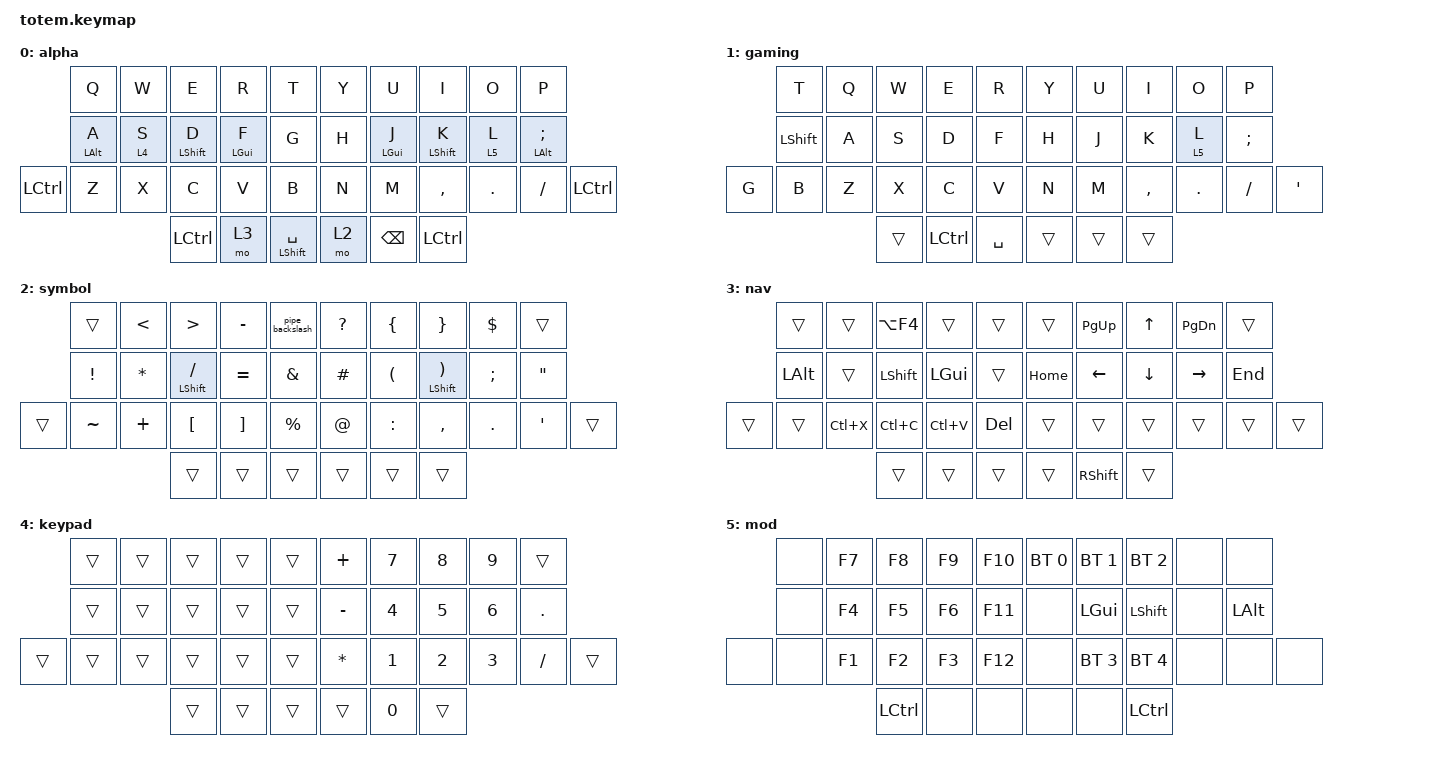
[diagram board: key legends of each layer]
//
//                                                        ▀▀▀▀▀     ▀▀▀▀▀          ▀▀█▀▀
//                                                        ▄▀▀▀▄  ▄  ▄▀▀▀▄  ▄  ▄▀▀▀▄  █  ▄▀▀▀▄
//                                                        █   █  █  █   █  █  █   █  █  █   █
//                                                         ▀▀▀   █   ▀▀▀   █   ▀▀▀   ▀   ▀▀▀
//                                                               █      ▄▄▄█▄▄▄    █   █  
//                                                               ▀      █  █  █     █▄█
//                                                             ▀▀▀▀▀    █  █  █      ▀
//                                                                      ▀  ▀  ▀
//
// ▄▄▄▄▄▄▄▄▄▄▄▄▄▄▄▄▄▄▄▄▄▄▄▄▄▄▄▄▄▄▄▄▄▄▄▄▄▄▄▄▄▄▄▄▄▄▄▄▄▄▄▄▄▄▄▄▄▄▄▄▄▄▄▄▄▄▄▄▄▄▄▄▄▄▄▄▄▄▄▄▄▄▄▄▄▄▄▄▄▄▄▄▄▄▄▄▄▄▄▄▄▄▄▄▄▄▄▄▄▄▄▄▄▄▄▄▄▄▄▄▄▄▄▄▄▄▄▄▄▄▄▄▄▄▄▄▄▄▄▄▄▄▄▄▄▄▄▄▄

#include <behaviors.dtsi>
#include <dt-bindings/zmk/bt.h>
#include <dt-bindings/zmk/keys.h>

/ {
    behaviors {
        hmo: hold_momentary {
            compatible = "zmk,behavior-hold-tap";
            label = "HOMEROW_MOD_LAYER_SHIFT";
            bindings = <&mo>, <&kp>;

            #binding-cells = <2>;
            tapping-term-ms = <200>;
            quick-tap-ms = <175>;
            flavor = "balanced";
        };

        hm: homerow_mods {
            compatible = "zmk,behavior-hold-tap";
            label = "HOMEROW_MODS";
            bindings = <&kp>, <&kp>;

            #binding-cells = <2>;
            tapping-term-ms = <200>;
            quick-tap-ms = <175>;
            flavor = "balanced";
        };

        pipe_backslash: pipe_backslash {
            compatible = "zmk,behavior-mod-morph";
            label = "PIPE_BACKSLASH";
            bindings = <&kp PIPE>, <&kp BACKSLASH>;

            #binding-cells = <0>;
            mods = <(MOD_LSFT|MOD_LGUI|MOD_RSFT|MOD_RGUI)>;
        };
    };

    combos {
        compatible = "zmk,combos";

        escape {
            bindings = <&kp ESCAPE>;
            key-positions = <1 2>;
            timeout-ms = <15>;
            layers = <0 1>;
        };

        tab {
            bindings = <&kp TAB>;
            key-positions = <7 8>;
            timeout-ms = <15>;
        };

        underscore {
            bindings = <&kp UNDERSCORE>;
            key-positions = <17 18>;
            timeout-ms = <15>;
            layers = <2>;
        };

        caret {
            bindings = <&kp CARET>;
            key-positions = <11 12>;
            timeout-ms = <15>;
            layers = <2>;
        };

        grave {
            bindings = <&kp GRAVE>;
            key-positions = <22 23>;
            timeout-ms = <15>;
            layers = <2>;
        };

        alpha {
            bindings = <&to 0>;
            key-positions = <10 14>;
            timeout-ms = <15>;
            layers = <5>;
        };

        gaming {
            bindings = <&to 1>;
            key-positions = <21 25>;
            timeout-ms = <15>;
            layers = <5>;
        };

        clear {
            bindings = <&bt BT_CLR>;
            key-positions = <1 4>;
            timeout-ms = <15>;
            layers = <5>;
        };

        enter {
            bindings = <&kp ENTER>;
            key-positions = <17 18>;
            timeout-ms = <15>;
        };

        dictate {
            bindings = <&kp F7>;
            key-positions = <22 23>;
            timeout-ms = <15>;
            layers = <0 1>;
        };
    };

    keymap {
        compatible = "zmk,keymap";

        alpha {
            bindings = <
           &kp Q           &kp W     &kp E             &kp R       &kp T                   &kp Y  &kp U          &kp I             &kp O       &kp P
           &hm LEFT_ALT A  &hmo 4 S  &hm LEFT_SHIFT D  &hm LGUI F  &kp G                   &kp H  &hm LGUI J     &hm LEFT_SHIFT K  &hmo 5 L    &hm LEFT_ALT SEMICOLON
&kp LCTRL  &kp Z           &kp X     &kp C             &kp V       &kp B                   &kp N  &kp M          &kp COMMA         &kp PERIOD  &kp SLASH               &kp LCTRL
                                     &kp LCTRL         &mo 3       &hm LEFT_SHIFT SPACE    &mo 2  &kp BACKSPACE  &kp LCTRL
            >;
        };

        gaming {
            bindings = <
       &kp T       &kp Q  &kp W   &kp E      &kp R        &kp Y   &kp U   &kp I      &kp O     &kp P
       &kp LSHIFT  &kp A  &kp S   &kp D      &kp F        &kp H   &kp J   &kp K      &hmo 5 L  &kp SEMI
&kp G  &kp B       &kp Z  &kp X   &kp C      &kp V        &kp N   &kp M   &kp COMMA  &kp DOT   &kp FSLH  &kp APOS
                          &trans  &kp LCTRL  &kp SPACE    &trans  &trans  &trans
            >;
        };

        symbol {
            bindings = <
        &trans     &kp LESS_THAN  &kp GREATER_THAN      &kp MINUS          &pipe_backslash    &kp QUESTION  &kp LEFT_BRACE        &kp RIGHT_BRACE                   &kp DOLLAR     &trans
        &kp EXCL   &kp ASTERISK   &hm LEFT_SHIFT SLASH  &kp EQUAL          &kp AMPERSAND      &kp HASH      &kp LEFT_PARENTHESIS  &hm LEFT_SHIFT RIGHT_PARENTHESIS  &kp SEMICOLON  &kp DOUBLE_QUOTES
&trans  &kp TILDE  &kp PLUS       &kp LEFT_BRACKET      &kp RIGHT_BRACKET  &kp PERCENT        &kp AT_SIGN   &kp COLON             &kp COMMA                         &kp PERIOD     &kp SINGLE_QUOTE   &trans
                                  &trans                &trans             &trans             &trans        &trans                &trans
            >;
        };

        nav {
            bindings = <
        &trans        &trans     &kp LA(F4)      &trans     &trans        &trans    &kp PAGE_UP      &kp UP_ARROW  &kp PAGE_DOWN  &trans
        &kp LEFT_ALT  &trans     &kp LEFT_SHIFT  &kp LGUI   &trans        &kp HOME  &kp LEFT         &kp DOWN      &kp RIGHT      &kp END
&trans  &trans        &kp LC(X)  &kp LC(C)       &kp LC(V)  &kp DELETE    &trans    &trans           &trans        &trans         &trans   &trans
                                 &trans          &trans     &trans        &trans    &kp RIGHT_SHIFT  &trans
            >;
        };

        keypad {
            bindings = <
        &trans  &trans  &trans  &trans  &trans    &kp PLUS      &kp N7        &kp N8        &kp N9        &trans
        &trans  &trans  &trans  &trans  &trans    &kp MINUS     &kp NUMBER_4  &kp NUMBER_5  &kp NUMBER_6  &kp PERIOD
&trans  &trans  &trans  &trans  &trans  &trans    &kp ASTERISK  &kp NUMBER_1  &kp NUMBER_2  &kp NUMBER_3  &kp SLASH   &trans
                        &trans  &trans  &trans    &trans        &kp NUMBER_0  &trans
            >;
        };

        mod {
            bindings = <
       &none  &kp F7  &kp F8     &kp F9  &kp F10    &bt BT_SEL 0  &bt BT_SEL 1  &bt BT_SEL 2  &none  &none
       &none  &kp F4  &kp F5     &kp F6  &kp F11    &none         &kp LGUI      &kp LSHFT     &none  &kp LEFT_ALT
&none  &none  &kp F1  &kp F2     &kp F3  &kp F12    &none         &bt BT_SEL 3  &bt BT_SEL 4  &none  &none         &none
                      &kp LCTRL  &none   &none      &none         &none         &kp LCTRL
            >;
        };
    };

    conditional_layers { compatible = "zmk,conditional-layers"; };
};
